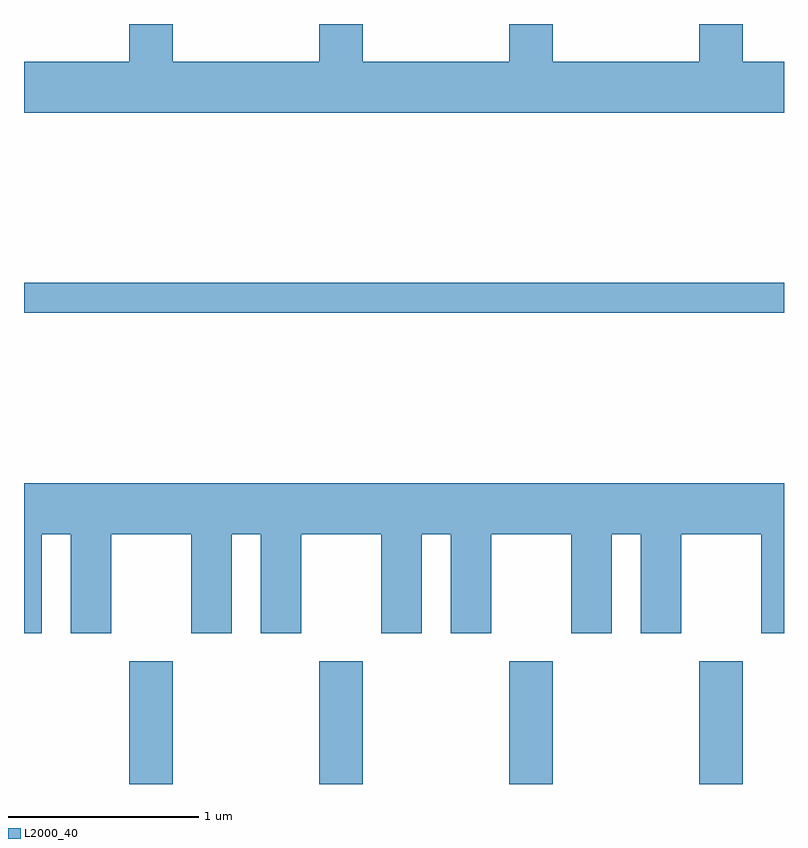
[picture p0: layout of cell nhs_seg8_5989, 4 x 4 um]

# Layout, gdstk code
import gdstk
lib = gdstk.Library(unit=1e-6, precision=1e-09)
def R(c, l, rs):  # rectangles x0, y0, x1, y1
    for r in rs: c.add(gdstk.rectangle(r[:2], r[2:], *l))
def A(c, l, x, y, w, h, nx, ny, dx, dy):  # array of equal rectangles
    R(c, l, [(x+i*dx, y+j*dy, x+i*dx+w, y+j*dy+h) for i in range(nx) for j in range(ny)])
def P(c, l, *ps):  # polygons
    for p in ps: c.add(gdstk.Polygon(p, *l))
L2000_40 = (2000, 40)

nhs_seg8_5989 = lib.new_cell('nhs_seg8_5989')
A(nhs_seg8_5989, L2000_40, 364.166, 1928.342, 0.228, 0.647, 4, 1, 1, 0)
R(nhs_seg8_5989, L2000_40, [(363.611,1930.821,367.611,1930.979)])
P(nhs_seg8_5989, L2000_40, [(367.611,1932.144),(367.394,1932.144),(367.394,1932.342),(367.166,1932.342),(367.166,1932.144),(366.394,1932.144),(366.394,1932.342),(366.166,1932.342),(366.166,1932.144),(365.394,1932.144),(365.394,1932.342),(365.166,1932.342),(365.166,1932.144),(364.394,1932.144),(364.394,1932.342),(364.166,1932.342),(364.166,1932.144),(363.611,1932.144),(363.611,1931.876),(367.611,1931.876)],
  [(363.704,1929.656),(363.856,1929.656),(363.856,1929.136),(364.069,1929.136),(364.069,1929.656),(364.491,1929.656),(364.491,1929.136),(364.704,1929.136),(364.704,1929.656),(364.856,1929.656),(364.856,1929.136),(365.069,1929.136),(365.069,1929.656),(365.491,1929.656),(365.491,1929.136),(365.704,1929.136),(365.704,1929.656),(365.856,1929.656),(365.856,1929.136),(366.069,1929.136),(366.069,1929.656),(366.491,1929.656),(366.491,1929.136),(366.704,1929.136),(366.704,1929.656),(366.856,1929.656),(366.856,1929.136),(367.069,1929.136),(367.069,1929.656),(367.491,1929.656),(367.491,1929.136),(367.611,1929.136),(367.611,1929.924),(363.611,1929.924),(363.611,1929.136),(363.704,1929.136)])

lib.write_gds('nhs_seg8_5989.gds')
